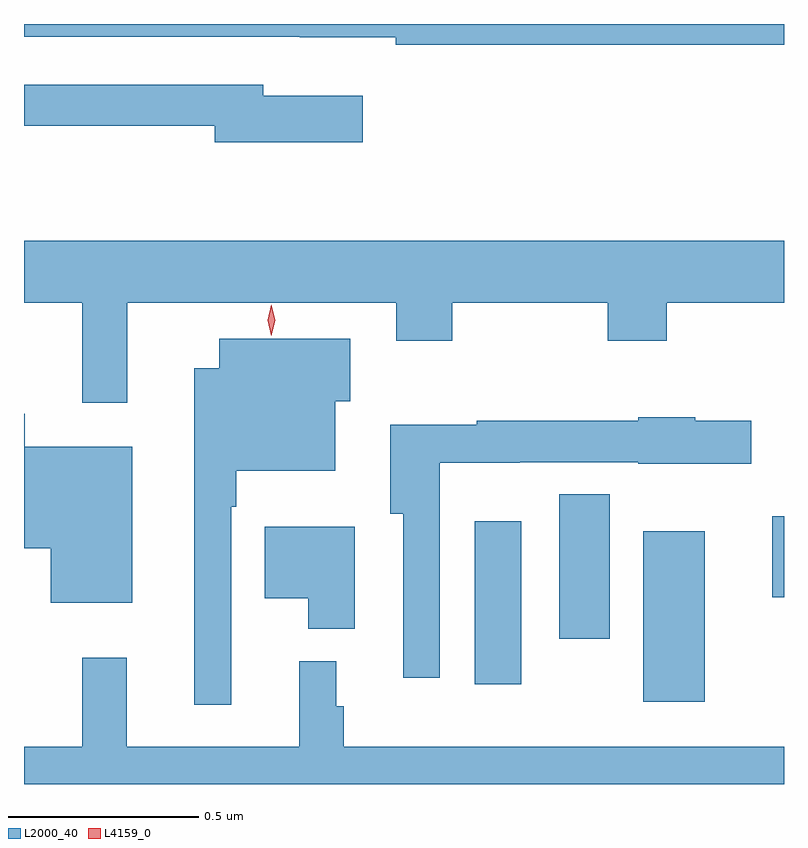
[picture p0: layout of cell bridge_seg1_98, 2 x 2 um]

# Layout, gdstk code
import gdstk
lib = gdstk.Library(unit=1e-6, precision=1e-09)
def R(c, l, rs):  # rectangles x0, y0, x1, y1
    for r in rs: c.add(gdstk.rectangle(r[:2], r[2:], *l))
def P(c, l, *ps):  # polygons
    for p in ps: c.add(gdstk.Polygon(p, *l))
L2000_40 = (2000, 40)
L4159_0 = (4159, 0)

bridge_seg1_98 = lib.new_cell('bridge_seg1_98')
R(bridge_seg1_98, L2000_40, [(365.384,553.347,365.545,553.795), (364.94,553.392,365.062,553.822), (365.162,553.512,365.296,553.892), (365.723,553.622,365.754,553.834)])
P(bridge_seg1_98, L2000_40, [(365.754,555.13),(363.754,555.13),(363.754,555.096),(364.48,555.096),(364.48,555.095),(364.732,555.095),(364.732,555.076),(365.754,555.076)],
  [(364.645,554.941),(364.384,554.941),(364.384,554.97),(363.754,554.97),(363.754,554.862),(364.256,554.862),(364.256,554.819),(364.645,554.819)],
  [(364.026,554.396),(364.733,554.396),(364.733,554.297),(364.881,554.297),(364.881,554.396),(365.29,554.396),(365.29,554.297),(365.445,554.297),(365.445,554.396),(365.754,554.396),(365.754,554.56),(363.754,554.56),(363.754,554.396),(363.907,554.396),(363.907,554.133),(364.026,554.133)],
  [(364.299,553.859),(364.312,553.859),(364.312,553.955),(364.573,553.955),(364.573,554.137),(364.612,554.137),(364.612,554.302),(364.268,554.302),(364.268,554.224),(364.202,554.224),(364.202,553.338),(364.299,553.338)],
  [(364.039,554.017),(363.756,554.017),(363.756,554.104),(363.754,554.104),(363.754,553.751),(363.824,553.751),(363.824,553.607),(364.039,553.607)],
  [(364.848,553.976),(365.058,553.976),(365.058,553.977),(365.37,553.977),(365.37,553.973),(365.668,553.973),(365.668,554.086),(365.52,554.086),(365.52,554.095),(365.37,554.095),(365.37,554.086),(364.945,554.086),(364.945,554.076),(364.718,554.076),(364.718,553.841),(364.752,553.841),(364.752,553.41),(364.848,553.41)],
  [(364.624,553.807),(364.388,553.807),(364.388,553.619),(364.502,553.619),(364.502,553.538),(364.624,553.538)],
  [(365.754,553.228),(364.595,553.228),(364.595,553.335),(364.576,553.335),(364.576,553.453),(364.478,553.453),(364.478,553.228),(364.025,553.228),(364.025,553.462),(363.907,553.462),(363.907,553.228),(363.754,553.228),(363.754,553.13),(365.754,553.13)])
P(bridge_seg1_98, L4159_0, [(364.404,554.309),(364.404,554.31),(364.395,554.35),(364.405,554.391),(364.405,554.391),(364.405,554.391),(364.415,554.35),(364.405,554.31)])

lib.write_gds('bridge_seg1_98.gds')
